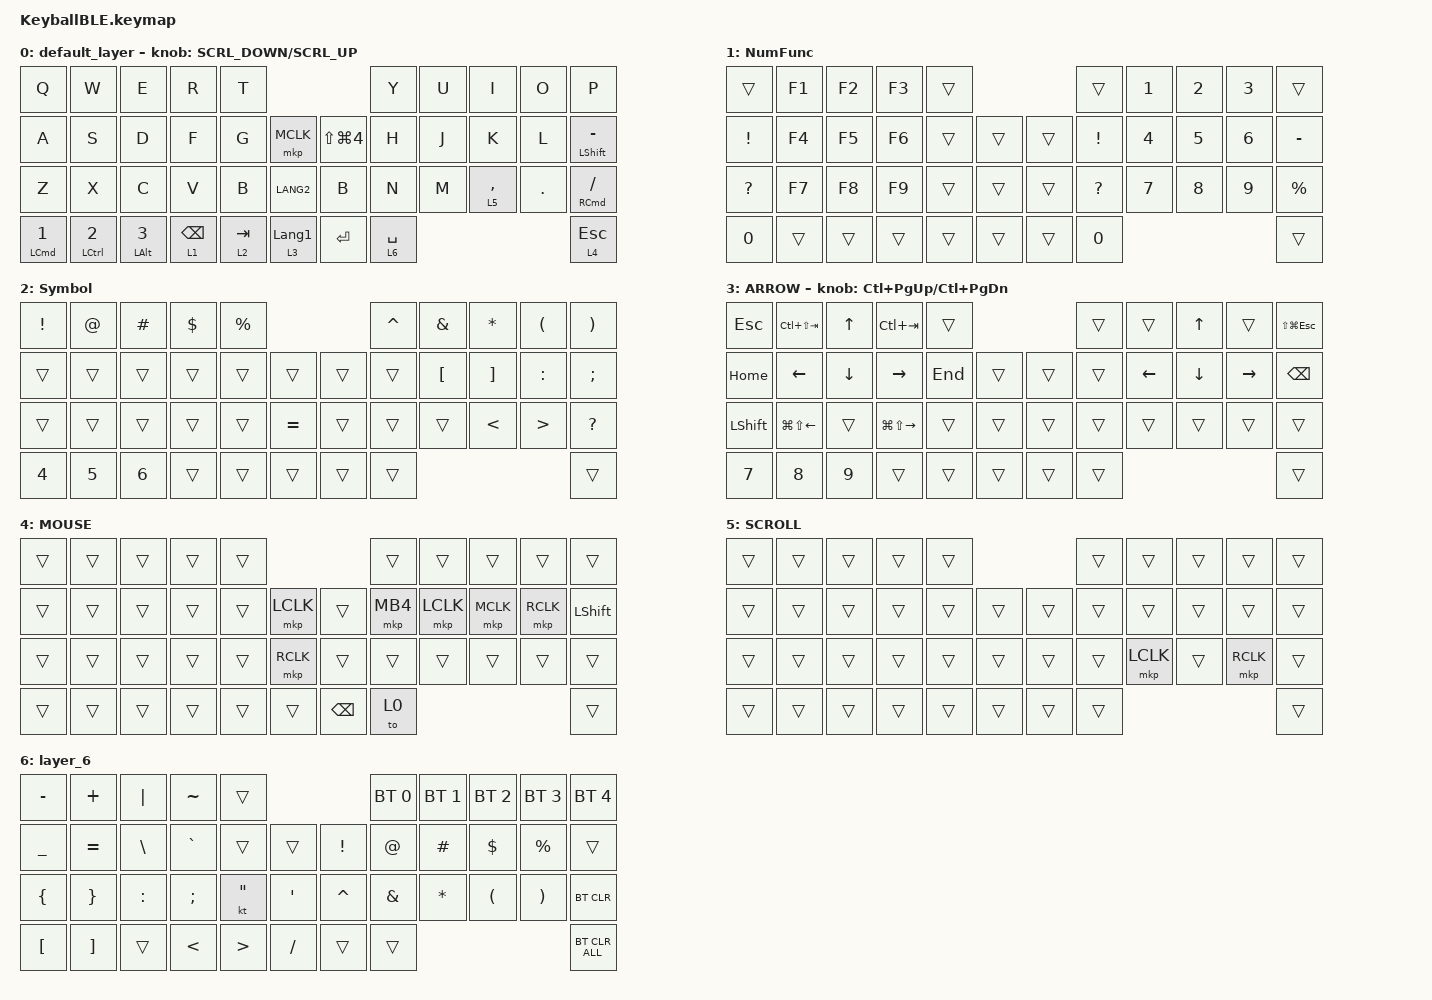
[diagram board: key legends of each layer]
#define ZMK_POINTING_DEFAULT_SCRL_VAL 120    // default: 10

#include <behaviors.dtsi>
#include <dt-bindings/zmk/bt.h>
#include <dt-bindings/zmk/keys.h>
#include <dt-bindings/zmk/pointing.h>

#define MOUSE 4
#define SCROLL 5
#define NUM 6

&mt {
    flavor = "balanced";
    quick-tap-ms = <0>;
};

/ {
    combos {
        compatible = "zmk,combos";

        double_quotation {
            bindings = <&kp DOUBLE_QUOTES>;
            key-positions = <20 21>;
        };
    };

    macros {
        to_layer_0: to_layer_0 {
            compatible = "zmk,behavior-macro-one-param";
            #binding-cells = <1>;
            bindings = <&to 0 &macro_param_1to1 &kp MACRO_PLACEHOLDER>;
            label = "TO_LAYER_0";
        };
    };

    behaviors {
        lt_to_layer_0: lt_to_layer_0 {
            compatible = "zmk,behavior-hold-tap";
            label = "LAYER_TAP_TO_0";
            bindings = <&mo>, <&to_layer_0>;

            #binding-cells = <2>;
            tapping-term-ms = <200>;
        };

        ROTATE: ROTATE {
            compatible = "zmk,behavior-sensor-rotate-var";
            label = "ROTATE";
            #sensor-binding-cells = <2>;
            bindings = <&msc>, <&msc>;

            tap-ms = <20>;
        };
    };

    keymap {
        compatible = "zmk,keymap";

        default_layer {
            bindings = <
&kp Q                      &kp W                      &kp E                  &kp R                       &kp T                                                             &kp Y        &kp U  &kp I        &kp O    &kp P
&kp A                      &kp S                      &kp D                  &kp F                       &kp G      &mkp MCLK                        &kp LS(LG(NUMBER_4))  &kp H        &kp J  &kp K        &kp L    &mt LEFT_SHIFT MINUS
&kp Z                      &kp X                      &kp C                  &kp V                       &kp B      &kp LANG2                        &kp B                 &kp N        &kp M  &lt 5 COMMA  &kp DOT  &mt RIGHT_COMMAND SLASH
&mt LEFT_COMMAND NUMBER_1  &mt LEFT_CONTROL NUMBER_2  &mt LEFT_ALT NUMBER_3  &lt_to_layer_0 1 BACKSPACE  &lt 2 TAB  &lt_to_layer_0 3 LANGUAGE_1      &kp ENTER             &lt 6 SPACE                               &lt 4 ESCAPE
            >;

            sensor-bindings = <&ROTATE SCRL_DOWN SCRL_UP>;
        };

        NumFunc {
            bindings = <
&trans        &kp F1  &kp F2  &kp F3  &trans                      &trans        &kp NUMBER_1  &kp NUMBER_2  &kp NUMBER_3  &trans
&kp EXCL      &kp F4  &kp F5  &kp F6  &trans  &trans      &trans  &kp EXCL      &kp NUMBER_4  &kp NUMBER_5  &kp NUMBER_6  &kp MINUS
&kp QUESTION  &kp F7  &kp F8  &kp F9  &trans  &trans      &trans  &kp QUESTION  &kp NUMBER_7  &kp NUMBER_8  &kp NUMBER_9  &kp PERCENT
&kp NUMBER_0  &trans  &trans  &trans  &trans  &trans      &trans  &kp NUMBER_0                                            &trans
            >;
        };

        Symbol {
            bindings = <
&kp EXCL      &kp AT        &kp HASH      &kp DOLLAR  &kp PERCENT                         &kp CARET  &kp AMPERSAND     &kp ASTRK          &kp LEFT_PARENTHESIS  &kp RIGHT_PARENTHESIS
&trans        &trans        &trans        &trans      &trans       &trans         &trans  &trans     &kp LEFT_BRACKET  &kp RIGHT_BRACKET  &kp COLON             &kp SEMI
&trans        &trans        &trans        &trans      &trans       &kp EQUAL      &trans  &trans     &trans            &kp LESS_THAN      &kp GREATER_THAN      &kp QUESTION
&kp NUMBER_4  &kp NUMBER_5  &kp NUMBER_6  &trans      &trans       &trans         &trans  &trans                                                                &trans
            >;
        };

        ARROW {
            bindings = <
&kp ESCAPE      &kp LC(LS(TAB))         &kp UP_ARROW    &kp LC(TAB)              &trans                       &trans  &trans          &kp UP_ARROW    &trans     &kp LS(LG(ESCAPE))
&kp HOME        &kp LEFT_ARROW          &kp DOWN_ARROW  &kp RIGHT_ARROW          &kp END  &trans      &trans  &trans  &kp LEFT_ARROW  &kp DOWN_ARROW  &kp RIGHT  &kp BACKSPACE
&kp LEFT_SHIFT  &kp LG(LS(LEFT_ARROW))  &trans          &kp LG(LS(RIGHT_ARROW))  &trans   &trans      &trans  &trans  &trans          &trans          &trans     &trans
&kp NUMBER_7    &kp NUMBER_8            &kp NUMBER_9    &trans                   &trans   &trans      &trans  &trans                                             &trans
            >;

            sensor-bindings = <&inc_dec_kp LC(PAGE_UP) LC(PAGE_DOWN)>;
        };

        MOUSE {
            bindings = <
&trans  &trans  &trans  &trans  &trans                                &trans    &trans     &trans     &trans     &trans
&trans  &trans  &trans  &trans  &trans  &mkp LCLK      &trans         &mkp MB4  &mkp LCLK  &mkp MCLK  &mkp RCLK  &kp LEFT_SHIFT
&trans  &trans  &trans  &trans  &trans  &mkp RCLK      &trans         &trans    &trans     &trans     &trans     &trans
&trans  &trans  &trans  &trans  &trans  &trans         &kp BACKSPACE  &to 0                                      &trans
            >;
        };

        SCROLL {
            bindings = <
&trans  &trans  &trans  &trans  &trans                      &trans  &trans     &trans  &trans     &trans
&trans  &trans  &trans  &trans  &trans  &trans      &trans  &trans  &trans     &trans  &trans     &trans
&trans  &trans  &trans  &trans  &trans  &trans      &trans  &trans  &mkp LCLK  &trans  &mkp RCLK  &trans
&trans  &trans  &trans  &trans  &trans  &trans      &trans  &trans                                &trans
            >;
        };

        layer_6 {
            bindings = <
&kp MINUS         &kp PLUS           &kp PIPE       &kp TILDE      &trans                                                    &bt BT_SEL 0   &bt BT_SEL 1  &bt BT_SEL 2          &bt BT_SEL 3           &bt BT_SEL 4
&kp UNDER         &kp EQUAL          &kp BACKSLASH  &kp GRAVE      &trans             &trans                &kp EXCLAMATION  &kp AT         &kp HASH      &kp DOLLAR            &kp PERCENT            &trans
&kp LEFT_BRACE    &kp RIGHT_BRACE    &kp COLON      &kp SEMI       &kt DOUBLE_QUOTES  &kp SINGLE_QUOTE      &kp CARET        &kp AMPERSAND  &kp ASTERISK  &kp LEFT_PARENTHESIS  &kp RIGHT_PARENTHESIS  &bt BT_CLR
&kp LEFT_BRACKET  &kp RIGHT_BRACKET  &trans         &kp LESS_THAN  &kp GREATER_THAN   &kp SLASH             &trans           &trans                                                                    &bt BT_CLR_ALL
            >;
        };
    };
};
